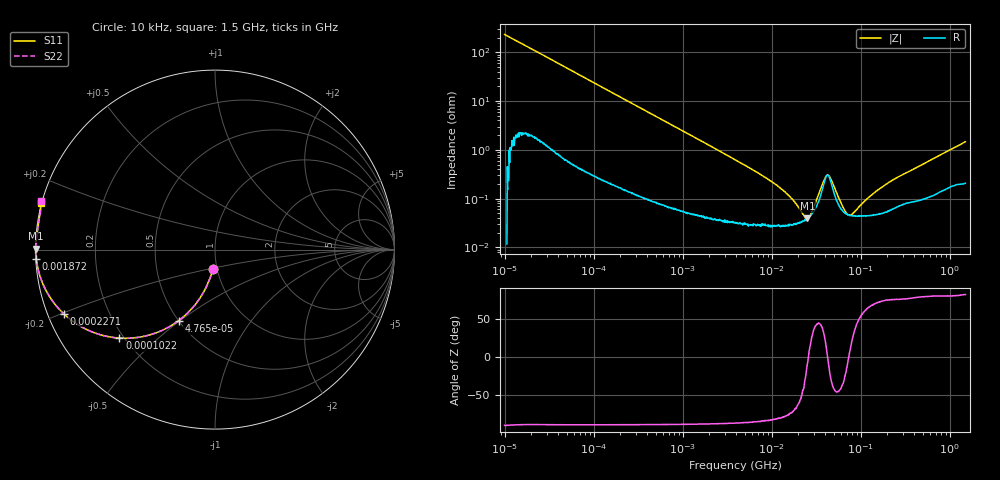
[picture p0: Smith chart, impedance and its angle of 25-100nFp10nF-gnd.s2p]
#  HZ  S  DB  R  50.00
! Rohde & Schwarz Vector Network Analyzer
! Rohde-Schwarz,ZNB8-4Port,1334333044101560,3.32
! Created: UTC 3/21/2023, 5:24:06 PM
! freq[Hz]  db:S11  ang:S11  db:S41  ang:S41  db:S14  ang:S14  db:S44  ang:S44
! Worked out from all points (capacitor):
!   1001 points, 10 kHz to 1.5 GHz, reference 50 ohm
!   read as one part in shunt: C = 68.4 nF near 10.61 kHz
!   lowest |Z| = 39.3 mohm at 25.16 MHz (marker M1)
!   series resonance near 25.87 MHz, so ESL is about 550 pH
!   S11 on the Smith chart (normalised r, x): 10 kHz: 0.96, -0.21; 47.65 kHz: 0.50, -0.49; 102.2 kHz: 0.18, -0.38; 227.1 kHz: 0.05, -0.20; 1.872 MHz: 0.00, -0.03; 1.5 GHz: -0.00, +0.13
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10000  -19.29 -96.0  -0.06 -6.1  -0.05 -6.1  -19.31 -95.7
25335.83  -11.78 -105.8  -0.34 -14.9  -0.34 -14.9  -11.80 -105.7
47650.55  -7.02 -117.1  -1.02 -26.4  -1.02 -26.4  -7.03 -117.1
73182.5  -4.36 -127.9  -2.06 -37.2  -2.06 -37.2  -4.36 -127.9
102173.4  -2.79 -137.2  -3.36 -46.5  -3.36 -46.5  -2.79 -137.2
227057.5  -0.76 -157.1  -8.19 -66.3  -8.19 -66.3  -0.76 -157.1
535567.8  -0.16 -169.7  -14.96 -78.7  -14.96 -78.7  -0.17 -169.7
1871992  -0.02 -177.0  -25.59 -85.2  -25.59 -85.3  -0.02 -177.0
3872983  -0.01 -178.6  -31.95 -85.6  -31.95 -85.7  -0.01 -178.6
1.260314e7  -0.01 -179.8  -43.76 -80.4  -43.70 -79.9  -0.01 -179.7
1.677663e7  -0.00 -180.0  -47.92 -73.3  -47.91 -73.4  -0.01 -180.0
2.28709e7  -0.00 179.8  -54.63 -41.8  -54.74 -41.7  -0.01 179.9
2.515892e7  -0.01 179.7  -56.08 -9.3  -55.89 -12.1  -0.01 179.8
2.834346e7  -0.01 179.6  -53.19 26.8  -53.19 26.4  -0.01 179.6
3.818169e7  -0.06 179.3  -41.04 31.9  -41.03 32.3  -0.07 179.3
4.200141e7  -0.10 179.5  -38.41 3.2  -38.41 3.3  -0.11 179.5
4.620326e7  -0.07 179.7  -39.99 -29.3  -39.96 -29.1  -0.08 179.7
6.606255e7  -0.02 179.3  -52.83 -27.8  -52.87 -27.5  -0.02 179.4
7.531689e7  -0.01 179.2  -54.88 5.5  -54.77 5.5  -0.02 179.2
1.366775e8  -0.01 178.2  -46.08 66.7  -46.05 66.9  -0.01 178.2
2.074245e8  -0.02 177.2  -41.30 72.0  -41.30 72.0  -0.02 177.3
1.5e9  0.06 164.9  -24.71 66.5  -24.57 66.5  0.04 164.3
